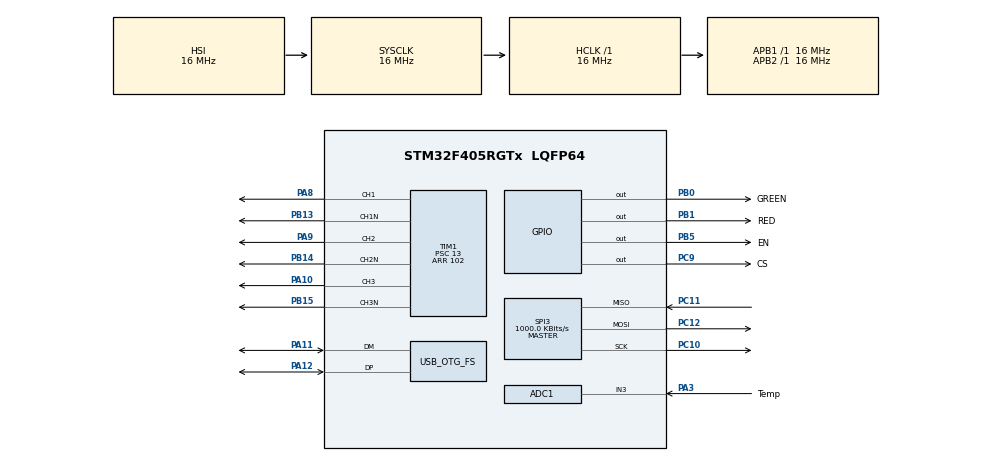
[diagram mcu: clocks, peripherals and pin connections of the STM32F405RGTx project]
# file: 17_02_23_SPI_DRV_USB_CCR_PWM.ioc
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ADC1.Channel-0\#ChannelRegularConversion=ADC_CHANNEL_3
ADC1.ContinuousConvMode=ENABLE
ADC1.NbrOfConversionFlag=1
ADC1.Rank-0\#ChannelRegularConversion=1
ADC1.SamplingTime-0\#ChannelRegularConversion=ADC_SAMPLETIME_3CYCLES
ADC1.ScanConvMode=ENABLE
ADC1.master=1
Mcu.Family=STM32F4
Mcu.Name=STM32F405RGTx
Mcu.Package=LQFP64
NVIC.OTG_FS_IRQn=true\:0\:0\:false\:false\:true\:false\:true\:true
NVIC.PriorityGroup=NVIC_PRIORITYGROUP_4
PA10.Signal=S_TIM1_CH3
PA11.Mode=Device_Only
PA11.Signal=USB_OTG_FS_DM
PA12.Mode=Device_Only
PA12.Signal=USB_OTG_FS_DP
PA13.Mode=Serial_Wire
PA13.Signal=SYS_JTMS-SWDIO
PA14.Mode=Serial_Wire
PA14.Signal=SYS_JTCK-SWCLK
PA3.GPIO_Label=Temp
PA3.Signal=ADCx_IN3
PA8.Signal=S_TIM1_CH1
PA9.Signal=S_TIM1_CH2
PB0.GPIO_Label=GREEN
PB0.Signal=GPIO_Output
PB1.GPIO_Label=RED
PB1.Signal=GPIO_Output
PB13.Mode=PWM Generation1 CH1 CH1N
PB13.Signal=TIM1_CH1N
PB14.Mode=PWM Generation2 CH2 CH2N
PB14.Signal=TIM1_CH2N
PB15.Mode=PWM Generation3 CH3 CH3N
PB15.Signal=TIM1_CH3N
PB5.GPIO_Label=EN
PB5.PinState=GPIO_PIN_SET
PB5.Signal=GPIO_Output
PC10.Mode=Full_Duplex_Master
PC10.Signal=SPI3_SCK
PC11.Mode=Full_Duplex_Master
PC11.Signal=SPI3_MISO
PC12.Mode=Full_Duplex_Master
PC12.Signal=SPI3_MOSI
PC14-OSC32_IN.Mode=LSE-External-Oscillator
PC14-OSC32_IN.Signal=RCC_OSC32_IN
PC15-OSC32_OUT.Mode=LSE-External-Oscillator
PC15-OSC32_OUT.Signal=RCC_OSC32_OUT
PC9.GPIO_Label=CS
PC9.PinState=GPIO_PIN_SET
PC9.Signal=GPIO_Output
PH0-OSC_IN.Mode=HSE-External-Oscillator
PH0-OSC_IN.Signal=RCC_OSC_IN
PH1-OSC_OUT.Mode=HSE-External-Oscillator
PH1-OSC_OUT.Signal=RCC_OSC_OUT
ProjectManager.HeapSize=0x200
ProjectManager.StackSize=0x400
ProjectManager.TargetToolchain=STM32CubeIDE
RCC.AHBFreq_Value=16000000
RCC.APB1Freq_Value=16000000
RCC.APB2Freq_Value=16000000
RCC.CortexFreq_Value=16000000
RCC.HSE_VALUE=25000000
RCC.HSI_VALUE=16000000
RCC.PLLSource=RCC_PLLSOURCE_HSI
RCC.PLLSourceVirtualString=RCC_PLLSOURCE_HSI
RCC.SYSCLKFreq_VALUE=16000000
RCC.VCOOutputFreq_Value=192000000
SH.ADCx_IN3.0=ADC1_IN3,IN3
SH.S_TIM1_CH1.0=TIM1_CH1,PWM Generation1 CH1 CH1N
SH.S_TIM1_CH2.0=TIM1_CH2,PWM Generation2 CH2 CH2N
SH.S_TIM1_CH3.0=TIM1_CH3,PWM Generation3 CH3 CH3N
SPI3.BaudRatePrescaler=SPI_BAUDRATEPRESCALER_16
SPI3.CLKPhase=SPI_PHASE_2EDGE
SPI3.CalculateBaudRate=1000.0 KBits/s
SPI3.DataSize=SPI_DATASIZE_16BIT
SPI3.Direction=SPI_DIRECTION_2LINES
SPI3.Mode=SPI_MODE_MASTER
SPI3.VirtualType=VM_MASTER
TIM1.AutoReloadPreload=TIM_AUTORELOAD_PRELOAD_ENABLE
TIM1.Channel-PWM\ Generation1\ CH1\ CH1N=TIM_CHANNEL_1
TIM1.Channel-PWM\ Generation2\ CH2\ CH2N=TIM_CHANNEL_2
TIM1.Channel-PWM\ Generation3\ CH3\ CH3N=TIM_CHANNEL_3
TIM1.DeadTime=20
TIM1.OCNIdleState_1=TIM_OCNIDLESTATE_SET
TIM1.OCNIdleState_2=TIM_OCNIDLESTATE_SET
TIM1.OCNIdleState_3=TIM_OCNIDLESTATE_SET
TIM1.Period=102
TIM1.Prescaler=13
TIM2.AutoReloadPreload=TIM_AUTORELOAD_PRELOAD_ENABLE
TIM2.Period=2000
TIM2.Prescaler=14
USB_DEVICE.CLASS_NAME_FS=CDC
USB_DEVICE.VirtualMode-CDC_FS=Cdc
USB_DEVICE.VirtualModeFS=Cdc_FS
USB_OTG_FS.VirtualMode=Device_Only
VP_TIM1_VS_ClockSourceINT.Mode=Internal
VP_TIM2_VS_ClockSourceINT.Mode=Internal
VP_USB_DEVICE_VS_USB_DEVICE_CDC_FS.Mode=CDC_FS
board=custom

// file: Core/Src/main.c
/* USER CODE BEGIN Header */
/**
  ******************************************************************************
  * @file           : main.c
  * @brief          : Main program body
  ******************************************************************************
  * @attention
  *
  * Copyright (c) 2023 STMicroelectronics.
  * All rights reserved.
  *
  * This software is licensed under terms that can be found in the LICENSE file
  * in the root directory of this software component.
  * If no LICENSE file comes with this software, it is provided AS-IS.
  *
  ******************************************************************************
  */
/* USER CODE END Header */
#include "main.h"
#include "usb_device.h"
#include "usbd_cdc_if.h"
#include "math.h"
/* USER CODE BEGIN Includes */
//vishwa and mohan
#define B_coefficient 3455.00 //3950.00      /* B coefficient of NTC Thermistor*/
#define Room_temperature 25.00
#define Series_Resistance 10000.00

uint16_t Thermistor_temperature;
float NTC_Resistance;

uint16_t readValueA,analog_value=0;;
uint16_t strValueA[8];

uint16_t PhaseA=0;
uint16_t k=0,l=0,CH2_DC=16;
uint32_t PhaseA_wave[128 ] = {
		50,54,58,62,65,69,72,76,79,82,85,88,90,92,94,96,97,98,99,100,100,100,100,99,
		98,97,95,93,91,89,86,84,81,77,74,71,67,63,60,56,52,48,44,40,37,33,29,26,
		23,19,16,14,11,9,7,5,3,2,3,4,6,8,10,12,15,
		18,21,24,28,31,35,38,42,46,50
};
uint32_t PhaseB_wave[128 ] = {
		93,91,89,86,84,81,77,74,71,67,63,60,56,52,48,44,40,37,33,29,26,
		23,19,16,14,11,9,7,5,3,2,3,4,6,8,10,12,15,
		18,21,24,28,31,35,38,42,46,50,50,54,58,62,65,69,72,76,79,82,85,88,90,92,
		94,96,97,98,99,100,100,100,100,99,98,97,95,
};
uint32_t PhaseC_wave[128 ] = {
		7,5,3,2,3,4,6,8,10,12,15,18,21,24,28,31,35,38,42,46,50,
		50,54,58,62,65,69,72,76,79,82,85,88,90,92,94,96,97,98,99,100,100,100,100,99,
		98,97,95,93,91,89,86,84,81,77,74,71,67,63,60,56,52,48,44,40,37,33,29,26,
		23,19,16,14,11,9
};
/* USER CODE END Includes */

ADC_HandleTypeDef hadc1;

SPI_HandleTypeDef hspi3;

TIM_HandleTypeDef htim1;
TIM_HandleTypeDef htim2;

void SystemClock_Config(void);
static void MX_GPIO_Init(void);
static void MX_ADC1_Init(void);
static void MX_SPI3_Init(void);
static void MX_TIM1_Init(void);
static void MX_TIM2_Init(void);

/* USER CODE BEGIN 0 */
void delay_us (uint16_t us)
{
	__HAL_TIM_SET_COUNTER(&htim2,0);  // set the counter value a 0
	while (__HAL_TIM_GET_COUNTER(&htim2) < us);  // wait for the counter to reach the us input in the parameter
}
void Get_Temperature()
{
	HAL_ADC_Start(&hadc1);
	HAL_ADC_PollForConversion(&hadc1,20);
	analog_value = HAL_ADC_GetValue(&hadc1);	/* store adc value on val register */
	HAL_ADC_Stop(&hadc1);
	/*NTC_Resistance = ((4095*Series_Resistance/analog_value) - Series_Resistance);
	Thermistor_temperature = log(NTC_Resistance);
	Thermistor_temperature = ((1.0/(Room_temperature + 273.15))+(1.0/B_coefficient)*log(NTC_Resistance/Series_Resistance));
	Thermistor_temperature = (1/Thermistor_temperature) - 273.15;*/
	Thermistor_temperature = 	(analog_value/30)-45;
	CDC_Transmit_FS("Temp = ",6);
	sprintf(strValueA,"%u\r\n",Thermistor_temperature);
	CDC_Transmit_FS(strValueA,strlen(strValueA));
}
/* USER CODE END 0 */

int main(void)
{

  /* MCU Configuration--------------------------------------------------------*/

  /* Reset of all peripherals, Initializes the Flash interface and the Systick. */
  HAL_Init();

  /* Configure the system clock */
  SystemClock_Config();

  /* Initialize all configured peripherals */
  MX_GPIO_Init();
  MX_ADC1_Init();
  MX_SPI3_Init();
  MX_TIM1_Init();
  MX_TIM2_Init();
  MX_USB_DEVICE_Init();
  /* USER CODE BEGIN 2 */
  HAL_TIM_Base_Start(&htim2);
  /* USER CODE END 2 */

  /* Infinite loop */
  while (1)
  {
	  Get_Temperature();
	  for(k=0;k<73;k++)
	{
		PhaseA = PhaseA +1;

		 TIM1->CCR1 = PhaseA_wave[PhaseA];
		HAL_TIM_PWM_Start(&htim1, TIM_CHANNEL_1);
		HAL_TIMEx_PWMN_Start(&htim1, TIM_CHANNEL_1);
		//delay_us(30);
		TIM1->CCR2 = PhaseB_wave[PhaseA];
		HAL_TIM_PWM_Start(&htim1, TIM_CHANNEL_2);
		HAL_TIMEx_PWMN_Start(&htim1, TIM_CHANNEL_2);
		//delay_us(30);
		TIM1->CCR3 = PhaseC_wave[PhaseA];
		HAL_TIM_PWM_Start(&htim1, TIM_CHANNEL_3);
		HAL_TIMEx_PWMN_Start(&htim1, TIM_CHANNEL_3);
		delay_us(330);
	}
	if(k>=73)
	{
		PhaseA=0;
		k=0;
	}
  }
}

void SystemClock_Config(void)
{
  RCC_OscInitTypeDef RCC_OscInitStruct = {0};
  RCC_ClkInitTypeDef RCC_ClkInitStruct = {0};

  /** Configure the main internal regulator output voltage
  */
  __HAL_RCC_PWR_CLK_ENABLE();
  __HAL_PWR_VOLTAGESCALING_CONFIG(PWR_REGULATOR_VOLTAGE_SCALE1);

  /** Initializes the RCC Oscillators according to the specified parameters
  * in the RCC_OscInitTypeDef structure.
  */
  RCC_OscInitStruct.OscillatorType = RCC_OSCILLATORTYPE_HSI;
  RCC_OscInitStruct.HSIState = RCC_HSI_ON;
  RCC_OscInitStruct.HSICalibrationValue = RCC_HSICALIBRATION_DEFAULT;
  RCC_OscInitStruct.PLL.PLLState = RCC_PLL_ON;
  RCC_OscInitStruct.PLL.PLLSource = RCC_PLLSOURCE_HSI;
  RCC_OscInitStruct.PLL.PLLM = 16;
  RCC_OscInitStruct.PLL.PLLN = 192;
  RCC_OscInitStruct.PLL.PLLP = RCC_PLLP_DIV2;
  RCC_OscInitStruct.PLL.PLLQ = 4;
  if (HAL_RCC_OscConfig(&RCC_OscInitStruct) != HAL_OK)
  {
    Error_Handler();
  }

  /** Initializes the CPU, AHB and APB buses clocks
  */
  RCC_ClkInitStruct.ClockType = RCC_CLOCKTYPE_HCLK|RCC_CLOCKTYPE_SYSCLK
                              |RCC_CLOCKTYPE_PCLK1|RCC_CLOCKTYPE_PCLK2;
  RCC_ClkInitStruct.SYSCLKSource = RCC_SYSCLKSOURCE_HSI;
  RCC_ClkInitStruct.AHBCLKDivider = RCC_SYSCLK_DIV1;
  RCC_ClkInitStruct.APB1CLKDivider = RCC_HCLK_DIV1;
  RCC_ClkInitStruct.APB2CLKDivider = RCC_HCLK_DIV1;

  if (HAL_RCC_ClockConfig(&RCC_ClkInitStruct, FLASH_LATENCY_0) != HAL_OK)
  {
    Error_Handler();
  }
}

static void MX_ADC1_Init(void)
{

  ADC_ChannelConfTypeDef sConfig = {0};

  /** Configure the global features of the ADC (Clock, Resolution, Data Alignment and number of conversion)
  */
  hadc1.Instance = ADC1;
  hadc1.Init.ClockPrescaler = ADC_CLOCK_SYNC_PCLK_DIV2;
  hadc1.Init.Resolution = ADC_RESOLUTION_12B;
  hadc1.Init.ScanConvMode = ENABLE;
  hadc1.Init.ContinuousConvMode = ENABLE;
  hadc1.Init.DiscontinuousConvMode = DISABLE;
  hadc1.Init.ExternalTrigConvEdge = ADC_EXTERNALTRIGCONVEDGE_NONE;
  hadc1.Init.ExternalTrigConv = ADC_SOFTWARE_START;
  hadc1.Init.DataAlign = ADC_DATAALIGN_RIGHT;
  hadc1.Init.NbrOfConversion = 1;
  hadc1.Init.DMAContinuousRequests = DISABLE;
  hadc1.Init.EOCSelection = ADC_EOC_SINGLE_CONV;
  if (HAL_ADC_Init(&hadc1) != HAL_OK)
  {
    Error_Handler();
  }

  /** Configure for the selected ADC regular channel its corresponding rank in the sequencer and its sample time.
  */
  sConfig.Channel = ADC_CHANNEL_3;
  sConfig.Rank = 1;
  sConfig.SamplingTime = ADC_SAMPLETIME_3CYCLES;
  if (HAL_ADC_ConfigChannel(&hadc1, &sConfig) != HAL_OK)
  {
    Error_Handler();
  }

}

static void MX_SPI3_Init(void)
{

  /* SPI3 parameter configuration*/
  hspi3.Instance = SPI3;
  hspi3.Init.Mode = SPI_MODE_MASTER;
  hspi3.Init.Direction = SPI_DIRECTION_2LINES;
  hspi3.Init.DataSize = SPI_DATASIZE_16BIT;
  hspi3.Init.CLKPolarity = SPI_POLARITY_LOW;
  hspi3.Init.CLKPhase = SPI_PHASE_2EDGE;
  hspi3.Init.NSS = SPI_NSS_SOFT;
  hspi3.Init.BaudRatePrescaler = SPI_BAUDRATEPRESCALER_16;
  hspi3.Init.FirstBit = SPI_FIRSTBIT_MSB;
  hspi3.Init.TIMode = SPI_TIMODE_DISABLE;
  hspi3.Init.CRCCalculation = SPI_CRCCALCULATION_DISABLE;
  hspi3.Init.CRCPolynomial = 10;
  if (HAL_SPI_Init(&hspi3) != HAL_OK)
  {
    Error_Handler();
  }

}

static void MX_TIM1_Init(void)
{

  TIM_ClockConfigTypeDef sClockSourceConfig = {0};
  TIM_MasterConfigTypeDef sMasterConfig = {0};
  TIM_OC_InitTypeDef sConfigOC = {0};
  TIM_BreakDeadTimeConfigTypeDef sBreakDeadTimeConfig = {0};

  htim1.Instance = TIM1;
  htim1.Init.Prescaler = 13;
  htim1.Init.CounterMode = TIM_COUNTERMODE_UP;
  htim1.Init.Period = 102;
  htim1.Init.ClockDivision = TIM_CLOCKDIVISION_DIV1;
  htim1.Init.RepetitionCounter = 0;
  htim1.Init.AutoReloadPreload = TIM_AUTORELOAD_PRELOAD_ENABLE;
  if (HAL_TIM_Base_Init(&htim1) != HAL_OK)
  {
    Error_Handler();
  }
  sClockSourceConfig.ClockSource = TIM_CLOCKSOURCE_INTERNAL;
  if (HAL_TIM_ConfigClockSource(&htim1, &sClockSourceConfig) != HAL_OK)
  {
    Error_Handler();
  }
  if (HAL_TIM_PWM_Init(&htim1) != HAL_OK)
  {
    Error_Handler();
  }
  sMasterConfig.MasterOutputTrigger = TIM_TRGO_RESET;
  sMasterConfig.MasterSlaveMode = TIM_MASTERSLAVEMODE_DISABLE;
  if (HAL_TIMEx_MasterConfigSynchronization(&htim1, &sMasterConfig) != HAL_OK)
  {
    Error_Handler();
  }
  sConfigOC.OCMode = TIM_OCMODE_PWM1;
  sConfigOC.Pulse = 0;
  sConfigOC.OCPolarity = TIM_OCPOLARITY_HIGH;
  sConfigOC.OCNPolarity = TIM_OCNPOLARITY_HIGH;
  sConfigOC.OCFastMode = TIM_OCFAST_DISABLE;
  sConfigOC.OCIdleState = TIM_OCIDLESTATE_RESET;
  sConfigOC.OCNIdleState = TIM_OCNIDLESTATE_SET;
  if (HAL_TIM_PWM_ConfigChannel(&htim1, &sConfigOC, TIM_CHANNEL_1) != HAL_OK)
  {
    Error_Handler();
  }
  if (HAL_TIM_PWM_ConfigChannel(&htim1, &sConfigOC, TIM_CHANNEL_2) != HAL_OK)
  {
    Error_Handler();
  }
  if (HAL_TIM_PWM_ConfigChannel(&htim1, &sConfigOC, TIM_CHANNEL_3) != HAL_OK)
  {
    Error_Handler();
  }
  sBreakDeadTimeConfig.OffStateRunMode = TIM_OSSR_DISABLE;
  sBreakDeadTimeConfig.OffStateIDLEMode = TIM_OSSI_DISABLE;
  sBreakDeadTimeConfig.LockLevel = TIM_LOCKLEVEL_OFF;
  sBreakDeadTimeConfig.DeadTime = 20;
  sBreakDeadTimeConfig.BreakState = TIM_BREAK_DISABLE;
  sBreakDeadTimeConfig.BreakPolarity = TIM_BREAKPOLARITY_HIGH;
  sBreakDeadTimeConfig.AutomaticOutput = TIM_AUTOMATICOUTPUT_DISABLE;
  if (HAL_TIMEx_ConfigBreakDeadTime(&htim1, &sBreakDeadTimeConfig) != HAL_OK)
  {
    Error_Handler();
  }
  HAL_TIM_MspPostInit(&htim1);

}

static void MX_TIM2_Init(void)
{

  TIM_ClockConfigTypeDef sClockSourceConfig = {0};
  TIM_MasterConfigTypeDef sMasterConfig = {0};

  htim2.Instance = TIM2;
  htim2.Init.Prescaler = 14;
  htim2.Init.CounterMode = TIM_COUNTERMODE_UP;
  htim2.Init.Period = 2000;
  htim2.Init.ClockDivision = TIM_CLOCKDIVISION_DIV1;
  htim2.Init.AutoReloadPreload = TIM_AUTORELOAD_PRELOAD_ENABLE;
  if (HAL_TIM_Base_Init(&htim2) != HAL_OK)
  {
    Error_Handler();
  }
  sClockSourceConfig.ClockSource = TIM_CLOCKSOURCE_INTERNAL;
  if (HAL_TIM_ConfigClockSource(&htim2, &sClockSourceConfig) != HAL_OK)
  {
    Error_Handler();
  }
  sMasterConfig.MasterOutputTrigger = TIM_TRGO_RESET;
  sMasterConfig.MasterSlaveMode = TIM_MASTERSLAVEMODE_DISABLE;
  if (HAL_TIMEx_MasterConfigSynchronization(&htim2, &sMasterConfig) != HAL_OK)
  {
    Error_Handler();
  }

}

static void MX_GPIO_Init(void)
{
  GPIO_InitTypeDef GPIO_InitStruct = {0};

  /* GPIO Ports Clock Enable */
  __HAL_RCC_GPIOC_CLK_ENABLE();
  __HAL_RCC_GPIOH_CLK_ENABLE();
  __HAL_RCC_GPIOA_CLK_ENABLE();
  __HAL_RCC_GPIOB_CLK_ENABLE();

  /*Configure GPIO pin Output Level */
  HAL_GPIO_WritePin(GPIOB, GREEN_Pin|RED_Pin, GPIO_PIN_RESET);

  /*Configure GPIO pin Output Level */
  HAL_GPIO_WritePin(CS_GPIO_Port, CS_Pin, GPIO_PIN_SET);

  /*Configure GPIO pin Output Level */
  HAL_GPIO_WritePin(EN_GPIO_Port, EN_Pin, GPIO_PIN_SET);

  /*Configure GPIO pins : GREEN_Pin RED_Pin EN_Pin */
  GPIO_InitStruct.Pin = GREEN_Pin|RED_Pin|EN_Pin;
  GPIO_InitStruct.Mode = GPIO_MODE_OUTPUT_PP;
  GPIO_InitStruct.Pull = GPIO_NOPULL;
  GPIO_InitStruct.Speed = GPIO_SPEED_FREQ_LOW;
  HAL_GPIO_Init(GPIOB, &GPIO_InitStruct);

  /*Configure GPIO pin : CS_Pin */
  GPIO_InitStruct.Pin = CS_Pin;
  GPIO_InitStruct.Mode = GPIO_MODE_OUTPUT_PP;
  GPIO_InitStruct.Pull = GPIO_NOPULL;
  GPIO_InitStruct.Speed = GPIO_SPEED_FREQ_LOW;
  HAL_GPIO_Init(CS_GPIO_Port, &GPIO_InitStruct);

}

void Error_Handler(void)
{
  __disable_irq();
  while (1)
  {
  }
}
